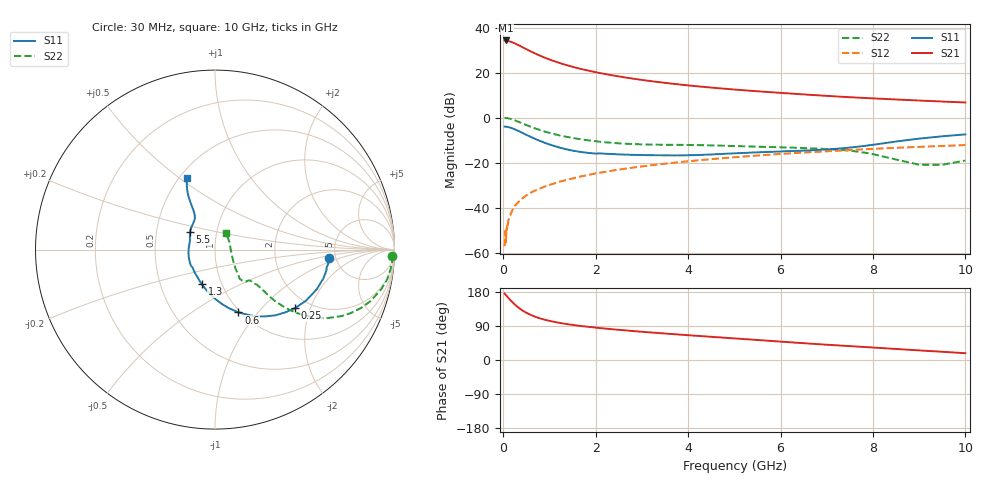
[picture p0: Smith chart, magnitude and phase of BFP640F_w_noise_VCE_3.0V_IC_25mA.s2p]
! Infineon Technologies  Discrete & RF Semiconductors
! BFP640F
! VCE =  3.0 V,  IC =  25 mA
! Common Emitter S-Parameters:  Apr 2013
# GHz  S  MA  R  50
!  f  S11  S21  S12  S22
! GHz  MAG  ANG  MAG  ANG  MAG  ANG  MAG  ANG
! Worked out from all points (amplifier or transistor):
!   99 points, 30 MHz to 10 GHz, reference 50 ohm
!   highest |S21| = 34.3 dB at 50 MHz (marker M1)
!   |S21| within 3 dB of that: start of sweep to 417.3 MHz
!   unconditionally stable (mu >= 1): 2.022 GHz to end of sweep
!   at 350 MHz: K = 0.41, MSG = 34.5 dB, |S12| = -37.0 dB
!   at 3.5 GHz: K = 1.05, MAG = 16.5 dB, |S12| = -20.4 dB
!   at 10 GHz: K = 1.04, MAG = 8.2 dB, |S12| = -12.1 dB
!   lowest NFmin = 0.90 dB at 450 MHz
!   S11 on the Smith chart (normalised r, x): 30 MHz: 4.39, -0.71; 250 MHz: 1.69, -1.58; 600 MHz: 0.98, -0.80; 1.3 GHz: 0.81, -0.33; 5.5 GHz: 0.74, +0.15; 10 GHz: 0.55, +0.53
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0.03  0.6369 -4.3  51.87 175.5  0.0014 100.6  0.9853 -2.0
0.05  0.6351 -7.5  52.16 172.7  0.0031 99.2  0.9895 -4.0
0.11  0.6189 -16.7  50.68 164.0  0.0052 85.7  0.9706 -10.3
0.15  0.6034 -22.6  49.26 158.7  0.0068 82.6  0.947 -14.0
0.2  0.5807 -29.5  47.2 152.3  0.0089 81.9  0.9139 -18.2
0.25  0.5529 -36.0  44.91 146.5  0.011 74.3  0.8759 -21.8
0.3  0.525 -41.8  42.49 141.1  0.0124 76.1  0.836 -25.0
0.4  0.4685 -52.5  37.72 132.0  0.0158 73.8  0.7569 -29.9
0.5  0.4171 -61.6  33.41 124.7  0.0188 71.4  0.6883 -33.5
0.6  0.3734 -69.6  29.67 118.7  0.0218 70.6  0.6272 -36.1
0.7  0.3354 -76.6  26.51 113.8  0.0243 70.8  0.5755 -37.8
0.9  0.277 -89.2  21.62 106.2  0.0296 70.2  0.4935 -39.8
1.1  0.2367 -100.2  18.1 100.7  0.0346 69.5  0.4329 -40.6
1.3  0.2068 -110.6  15.52 96.3  0.0398 69.5  0.3888 -40.5
1.7  0.1722 -129.7  12.04 89.5  0.0502 68.5  0.3302 -39.9
2.4  0.1551 -157.0  8.618 80.7  0.0678 66.2  0.2743 -41.0
3.4  0.1466 176.0  6.131 70.8  0.0928 61.8  0.2511 -43.8
5.1  0.1633 148.8  4.162 56.2  0.1348 53.4  0.2337 -48.5
5.5  0.1703 144.4  3.877 52.8  0.1447 51.3  0.2272 -49.1
6.7  0.1901 129.8  3.203 42.7  0.1729 44.5  0.2081 -49.4
8.5  0.2962 117.5  2.546 29.1  0.2148 34.3  0.1178 -31.4
10  0.427 111.5  2.182 17.9  0.2471 25.6  0.1119 55.3
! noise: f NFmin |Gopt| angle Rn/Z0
0.45  0.9  0.15  -174  0.06
0.9  0.92  0.16  -169  0.06
1.5  0.95  0.16  -163  0.07
1.9  0.98  0.17  -157  0.08
2.4  1.01  0.18  -149  0.08
3.5  1.09  0.19  -139  0.1
5.5  1.27  0.22  -122  0.13
10  1.73  0.43  -86  0.42
